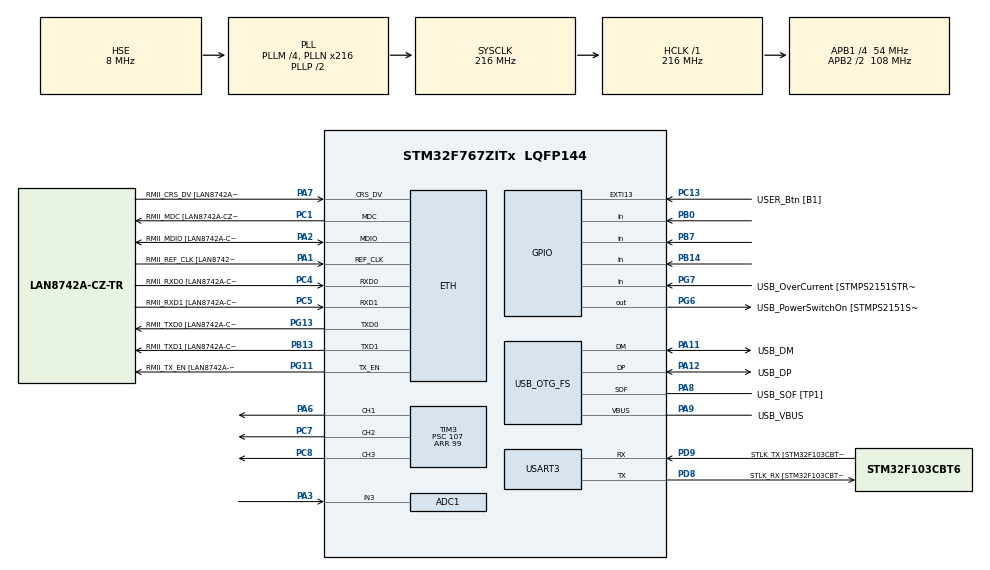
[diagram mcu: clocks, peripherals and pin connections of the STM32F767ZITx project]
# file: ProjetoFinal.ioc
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ADC1.Channel-0\#ChannelRegularConversion=ADC_CHANNEL_3
ADC1.NbrOfConversionFlag=1
ADC1.Rank-0\#ChannelRegularConversion=1
ADC1.SamplingTime-0\#ChannelRegularConversion=ADC_SAMPLETIME_3CYCLES
ADC1.master=1
CORTEX_M7.default_mode_Activation=1
ETH.MediaInterface=HAL_ETH_RMII_MODE
ETH.PHY_Name=LAN8742A_PHY_ADDRESS
ETH.PHY_Value=0
ETH.PhyAddress=0
Mcu.Family=STM32F7
Mcu.Name=STM32F767ZITx
Mcu.Package=LQFP144
NVIC.PriorityGroup=NVIC_PRIORITYGROUP_4
NVIC.TIM6_DAC_IRQn=true\:0\:0\:false\:false\:true\:true\:true\:true
NVIC.TIM7_IRQn=true\:0\:0\:false\:false\:true\:true\:true\:true
PA1.GPIO_Label=RMII_REF_CLK [LAN8742A-CZ-TR_REFCLK0]
PA1.Mode=RMII
PA1.Signal=ETH_REF_CLK
PA10.GPIO_Label=USB_ID
PA10.Signal=USB_OTG_FS_ID
PA11.GPIO_Label=USB_DM
PA11.Mode=Device_Only
PA11.Signal=USB_OTG_FS_DM
PA12.GPIO_Label=USB_DP
PA12.Mode=Device_Only
PA12.Signal=USB_OTG_FS_DP
PA13.GPIO_Label=TMS
PA13.Mode=Serial_Wire
PA13.Signal=SYS_JTMS-SWDIO
PA14.GPIO_Label=TCK
PA14.Mode=Serial_Wire
PA14.Signal=SYS_JTCK-SWCLK
PA2.GPIO_Label=RMII_MDIO [LAN8742A-CZ-TR_MDIO]
PA2.Mode=RMII
PA2.Signal=ETH_MDIO
PA3.Signal=ADCx_IN3
PA6.Signal=S_TIM3_CH1
PA7.GPIO_Label=RMII_CRS_DV [LAN8742A-CZ-TR_CRS_DV]
PA7.Mode=RMII
PA7.Signal=ETH_CRS_DV
PA8.GPIO_Label=USB_SOF [TP1]
PA8.Mode=Activate_SOF_FS
PA8.Signal=USB_OTG_FS_SOF
PA9.GPIO_Label=USB_VBUS
PA9.Mode=Activate_VBUS
PA9.Signal=USB_OTG_FS_VBUS
PB0.Signal=GPIO_Input
PB13.GPIO_Label=RMII_TXD1 [LAN8742A-CZ-TR_TXD1]
PB13.Mode=RMII
PB13.Signal=ETH_TXD1
PB14.Signal=GPIO_Input
PB3.GPIO_Label=SWO
PB3.Signal=SYS_JTDO-SWO
PB7.Signal=GPIO_Input
PC1.GPIO_Label=RMII_MDC [LAN8742A-CZ-TR_MDC]
PC1.Mode=RMII
PC1.Signal=ETH_MDC
PC13.GPIO_Label=USER_Btn [B1]
PC13.Signal=GPXTI13
PC14/OSC32_IN.Mode=LSE-External-Oscillator
PC14/OSC32_IN.Signal=RCC_OSC32_IN
PC15/OSC32_OUT.Mode=LSE-External-Oscillator
PC15/OSC32_OUT.Signal=RCC_OSC32_OUT
PC4.GPIO_Label=RMII_RXD0 [LAN8742A-CZ-TR_RXD0]
PC4.Mode=RMII
PC4.Signal=ETH_RXD0
PC5.GPIO_Label=RMII_RXD1 [LAN8742A-CZ-TR_RXD1]
PC5.Mode=RMII
PC5.Signal=ETH_RXD1
PC7.Signal=S_TIM3_CH2
PC8.Signal=S_TIM3_CH3
PD8.GPIO_Label=STLK_RX [STM32F103CBT6_PA3]
PD8.Mode=Asynchronous
PD8.Signal=USART3_TX
PD9.GPIO_Label=STLK_TX [STM32F103CBT6_PA2]
PD9.Mode=Asynchronous
PD9.Signal=USART3_RX
PG11.GPIO_Label=RMII_TX_EN [LAN8742A-CZ-TR_TXEN]
PG11.Mode=RMII
PG11.Signal=ETH_TX_EN
PG13.GPIO_Label=RMII_TXD0 [LAN8742A-CZ-TR_TXD0]
PG13.Mode=RMII
PG13.Signal=ETH_TXD0
PG6.GPIO_Label=USB_PowerSwitchOn [STMPS2151STR_EN]
PG6.Signal=GPIO_Output
PG7.GPIO_Label=USB_OverCurrent [STMPS2151STR_FAULT]
PG7.Signal=GPIO_Input
PH0/OSC_IN.GPIO_Label=MCO [STM32F103CBT6_PA8]
PH0/OSC_IN.Mode=HSE-External-Clock-Source
PH0/OSC_IN.Signal=RCC_OSC_IN
PH1/OSC_OUT.Mode=HSE-External-Clock-Source
PH1/OSC_OUT.Signal=RCC_OSC_OUT
ProjectManager.HeapSize=0x200
ProjectManager.StackSize=0x400
ProjectManager.TargetToolchain=CMake
RCC.48MHZClocksFreq_Value=24000000
RCC.AHBFreq_Value=216000000
RCC.APB1CLKDivider=RCC_HCLK_DIV4
RCC.APB1Freq_Value=54000000
RCC.APB1TimFreq_Value=108000000
RCC.APB2CLKDivider=RCC_HCLK_DIV2
RCC.APB2Freq_Value=108000000
RCC.APB2TimFreq_Value=216000000
RCC.CortexFreq_Value=216000000
RCC.HCLKFreq_Value=216000000
RCC.HSE_VALUE=8000000
RCC.HSI_VALUE=16000000
RCC.PLLM=4
RCC.PLLMUL=RCC_PLL_MUL9
RCC.PLLN=216
RCC.PLLQ=9
RCC.PRESCALERUSB=RCC_USBCLKSOURCE_PLL_DIV1_5
RCC.SYSCLKFreq_VALUE=216000000
RCC.SYSCLKSource=RCC_SYSCLKSOURCE_PLLCLK
RCC.SYSCLKSourceVirtual=RCC_SYSCLKSOURCE_PLLCLK
RCC.USBFreq_Value=48000000
RCC.VCOOutputFreq_Value=432000000
SH.ADCx_IN3.0=ADC1_IN3,IN3
SH.S_TIM3_CH1.0=TIM3_CH1,PWM Generation1 CH1
SH.S_TIM3_CH2.0=TIM3_CH2,PWM Generation2 CH2
SH.S_TIM3_CH3.0=TIM3_CH3,PWM Generation3 CH3
TIM3.Channel-PWM\ Generation1\ CH1=TIM_CHANNEL_1
TIM3.Channel-PWM\ Generation2\ CH2=TIM_CHANNEL_2
TIM3.Channel-PWM\ Generation3\ CH3=TIM_CHANNEL_3
TIM3.Period=99
TIM3.Prescaler=107
TIM6.Period=49
TIM6.Prescaler=10799
TIM7.Period=299
TIM7.Prescaler=10799
USART3.VirtualMode-Asynchronous=VM_ASYNC
USB_OTG_FS.VirtualMode=Device_Only
VP_TIM3_VS_ClockSourceINT.Mode=Internal
VP_TIM6_VS_ClockSourceINT.Mode=Enable_Timer
VP_TIM7_VS_ClockSourceINT.Mode=Enable_Timer
VP_TIM7_VS_OPM.Mode=OPM_bit
board=NUCLEO-F767ZI

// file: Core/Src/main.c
/* USER CODE BEGIN Header */
/**
  ******************************************************************************
  * @file           : main.c
  * @brief          : Main program body
  ******************************************************************************
  * @attention
  *
  * Copyright (c) 2026 STMicroelectronics.
  * All rights reserved.
  *
  * This software is licensed under terms that can be found in the LICENSE file
  * in the root directory of this software component.
  * If no LICENSE file comes with this software, it is provided AS-IS.
  *
  ******************************************************************************
  */
/* USER CODE END Header */
#include "main.h"
#include "adc.h"
#include "eth.h"
#include "tim.h"
#include "usart.h"
#include "usb_otg.h"
#include "gpio.h"

/* USER CODE BEGIN Includes */
#include "Bsp.h"
#include "Button.h"
#include "LedPwm.h"
#include "Sampler.h"
#include "SerialCmd.h"
#include <stdio.h>
/* USER CODE END Includes */

/* USER CODE BEGIN PV */
static uint32_t telemetryTick = 0U;   ///< Contador de ticks de 5 ms para telemetria
static uint8_t  lastAdcPercent = 0U;  ///< Ultimo valor percentual valido do ADC
/* USER CODE END PV */

void SystemClock_Config(void);
static void MPU_Config(void);

/* USER CODE BEGIN 0 */

/**
 * @brief  Redireciona a saida do printf para a USART3 via BSP.
 *         Chamada internamente pela funcao _write do newlib.
 * @param  ch Caractere a ser transmitido.
 * @retval O proprio caractere transmitido.
 */
int __io_putchar(int ch)
{
    Bsp_Uart_TransmitChar((uint8_t)ch);
    return ch;
}

/* USER CODE END 0 */

int main(void)
{

  /* MPU Configuration--------------------------------------------------------*/
  MPU_Config();

  /* MCU Configuration--------------------------------------------------------*/

  /* Reset of all peripherals, Initializes the Flash interface and the Systick. */
  HAL_Init();

  /* Configure the system clock */
  SystemClock_Config();

  /* Initialize all configured peripherals */
  MX_GPIO_Init();
  MX_ETH_Init();
  MX_USART3_UART_Init();
  MX_USB_OTG_FS_PCD_Init();
  MX_ADC1_Init();
  MX_TIM3_Init();
  MX_TIM6_Init();
  MX_TIM7_Init();
  /* USER CODE BEGIN 2 */
  Bsp_Init();
  Sampler_Init();
  LedPwm_Init();
  SerialCmd_Init();
  Button_Init();
  /* USER CODE END 2 */

  /* Infinite loop */
  while (1)
  {

    /* USER CODE BEGIN 3 */
    /* Processa comandos seriais de forma nao-bloqueante */
    SerialCmd_Process();
    if (SerialCmd_IsCommandPending())
    {
        LedPwm_SetActiveLed(SerialCmd_GetCommand());
    }

    Button_Process();

    /* Verifica a flag de amostragem do TIM6 (5 ms) */
    if (Bsp_Tim6_IsSampleFlag())
    {
        Bsp_Tim6_ClearSampleFlag();

        /* So alimenta o amostrador se o sistema nao estiver congelado */
        if (!Button_IsFrozen())
        {
            Sampler_AddSample(Bsp_Adc_Read());

            /* Janela de 100 amostras concluida (500 ms) */
            if (Sampler_IsWindowComplete())
            {
                lastAdcPercent = Sampler_GetAveragePercent();

                /* Atualiza o duty cycle apenas do LED ativo */
                LedPwm_UpdateActiveDuty(lastAdcPercent);
            }
        }

        /* Telemetria a cada 1 segundo (200 ticks de 5 ms) */
        telemetryTick++;
        if (telemetryTick >= 200U)
        {
            telemetryTick = 0U;

            printf(
                "VALUE: %u%% || LED1: %u%% aceso || LED2: %u%% aceso || LED3: %u%% aceso || STATE: %s\r\n",
                lastAdcPercent,
                LedPwm_GetDuty(eLED_CHANNEL_1),
                LedPwm_GetDuty(eLED_CHANNEL_2),
                LedPwm_GetDuty(eLED_CHANNEL_3),
                Button_IsFrozen() ? "OFF" : "ON");
        }
    }
  }
  /* USER CODE END 3 */
}

void SystemClock_Config(void)
{
  RCC_OscInitTypeDef RCC_OscInitStruct = {0};
  RCC_ClkInitTypeDef RCC_ClkInitStruct = {0};

  /** Configure LSE Drive Capability
  */
  HAL_PWR_EnableBkUpAccess();

  /** Configure the main internal regulator output voltage
  */
  __HAL_RCC_PWR_CLK_ENABLE();
  __HAL_PWR_VOLTAGESCALING_CONFIG(PWR_REGULATOR_VOLTAGE_SCALE1);

  /** Initializes the RCC Oscillators according to the specified parameters
  * in the RCC_OscInitTypeDef structure.
  */
  RCC_OscInitStruct.OscillatorType = RCC_OSCILLATORTYPE_HSE;
  RCC_OscInitStruct.HSEState = RCC_HSE_BYPASS;
  RCC_OscInitStruct.PLL.PLLState = RCC_PLL_ON;
  RCC_OscInitStruct.PLL.PLLSource = RCC_PLLSOURCE_HSE;
  RCC_OscInitStruct.PLL.PLLM = 4;
  RCC_OscInitStruct.PLL.PLLN = 216;
  RCC_OscInitStruct.PLL.PLLP = RCC_PLLP_DIV2;
  RCC_OscInitStruct.PLL.PLLQ = 9;
  RCC_OscInitStruct.PLL.PLLR = 2;
  if (HAL_RCC_OscConfig(&RCC_OscInitStruct) != HAL_OK)
  {
    Error_Handler();
  }

  /** Activate the Over-Drive mode
  */
  if (HAL_PWREx_EnableOverDrive() != HAL_OK)
  {
    Error_Handler();
  }

  /** Initializes the CPU, AHB and APB buses clocks
  */
  RCC_ClkInitStruct.ClockType = RCC_CLOCKTYPE_HCLK|RCC_CLOCKTYPE_SYSCLK
                              |RCC_CLOCKTYPE_PCLK1|RCC_CLOCKTYPE_PCLK2;
  RCC_ClkInitStruct.SYSCLKSource = RCC_SYSCLKSOURCE_PLLCLK;
  RCC_ClkInitStruct.AHBCLKDivider = RCC_SYSCLK_DIV1;
  RCC_ClkInitStruct.APB1CLKDivider = RCC_HCLK_DIV4;
  RCC_ClkInitStruct.APB2CLKDivider = RCC_HCLK_DIV2;

  if (HAL_RCC_ClockConfig(&RCC_ClkInitStruct, FLASH_LATENCY_7) != HAL_OK)
  {
    Error_Handler();
  }
}

 /* MPU Configuration */

void MPU_Config(void)
{
  MPU_Region_InitTypeDef MPU_InitStruct = {0};

  /* Disables the MPU */
  HAL_MPU_Disable();

  /** Initializes and configures the Region and the memory to be protected
  */
  MPU_InitStruct.Enable = MPU_REGION_ENABLE;
  MPU_InitStruct.Number = MPU_REGION_NUMBER0;
  MPU_InitStruct.BaseAddress = 0x0;
  MPU_InitStruct.Size = MPU_REGION_SIZE_4GB;
  MPU_InitStruct.SubRegionDisable = 0x87;
  MPU_InitStruct.TypeExtField = MPU_TEX_LEVEL0;
  MPU_InitStruct.AccessPermission = MPU_REGION_NO_ACCESS;
  MPU_InitStruct.DisableExec = MPU_INSTRUCTION_ACCESS_DISABLE;
  MPU_InitStruct.IsShareable = MPU_ACCESS_SHAREABLE;
  MPU_InitStruct.IsCacheable = MPU_ACCESS_NOT_CACHEABLE;
  MPU_InitStruct.IsBufferable = MPU_ACCESS_NOT_BUFFERABLE;

  HAL_MPU_ConfigRegion(&MPU_InitStruct);
  /* Enables the MPU */
  HAL_MPU_Enable(MPU_PRIVILEGED_DEFAULT);

}

void Error_Handler(void)
{
  __disable_irq();
  while (1)
  {
  }
}
